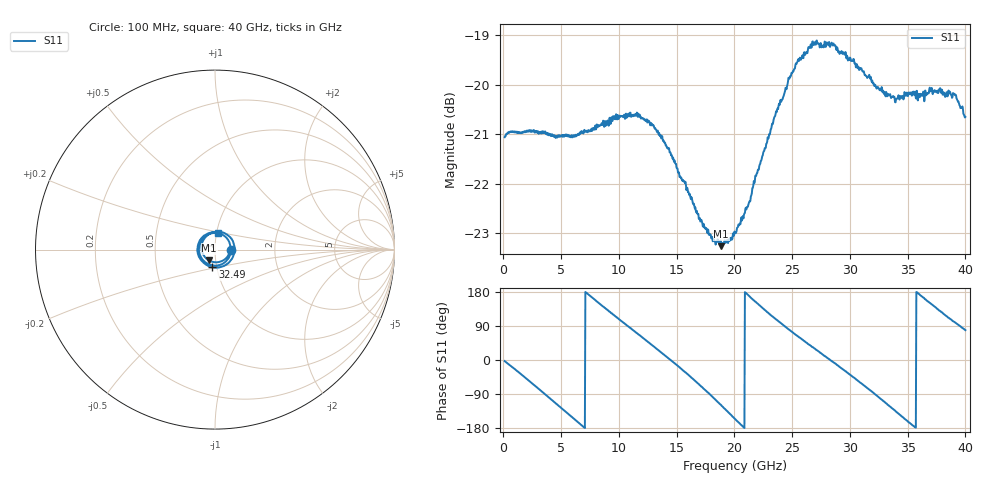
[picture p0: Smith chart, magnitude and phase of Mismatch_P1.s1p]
# Hz S RI R 50.000000
! Metas.Vna.Tools, 2.9.9438.25149
! Metas.Vna.Data, 2.9.9438.25100
! Created: UTC 2026.07.15 07:37:58
! FREQ  re:S1,1  im:S1,1
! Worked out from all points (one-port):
!   931 points, 100 MHz to 40 GHz, reference 50 ohm
!   lowest |S11| = -23.3 dB at 18.85 GHz (marker M1), VSWR 1.15, Z = 46.5 - j5.62 ohm
!   |S11| at or under -10 dB: start of sweep to end of sweep
!   S11 on the Smith chart (normalised r, x): 100 MHz: 1.19, -0.01; 32.49 GHz: 0.95, -0.19; 40 GHz: 1.02, +0.19
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1e8  0.0884 -0.00429
1.387e9  0.0741 -0.05
2.8456e9  0.0291 -0.0847
3.9181e9  -0.0133 -0.0879
5.1193e9  -0.0565 -0.0682
6.4063e9  -0.0851 -0.0262
7.5217e9  -0.088 0.0179
1.00957e10  -0.0249 0.0894
1.15114e10  0.0294 0.0884
1.29271e10  0.072 0.0558
1.50721e10  0.0796 -0.021
1.70026e10  0.0296 -0.0671
1.88473e10  -0.0331 -0.0602
2.00485e10  -0.0644 -0.0296
2.23651e10  -0.0635 0.0553
2.37808e10  -0.0212 0.0921
2.50678e10  0.0314 0.0983
2.65693e10  0.086 0.0676
2.78134e10  0.1088 0.0197
2.87572e10  0.1078 -0.0186
3.00442e10  0.0821 -0.0676
3.12883e10  0.0368 -0.0954
3.24895e10  -0.014 -0.0981
3.50206e10  -0.0928 -0.0294
3.63934e10  -0.0944 0.0263
3.78091e10  -0.0626 0.0769
3.90103e10  -0.0188 0.0961
3.9997e10  0.018 0.091
